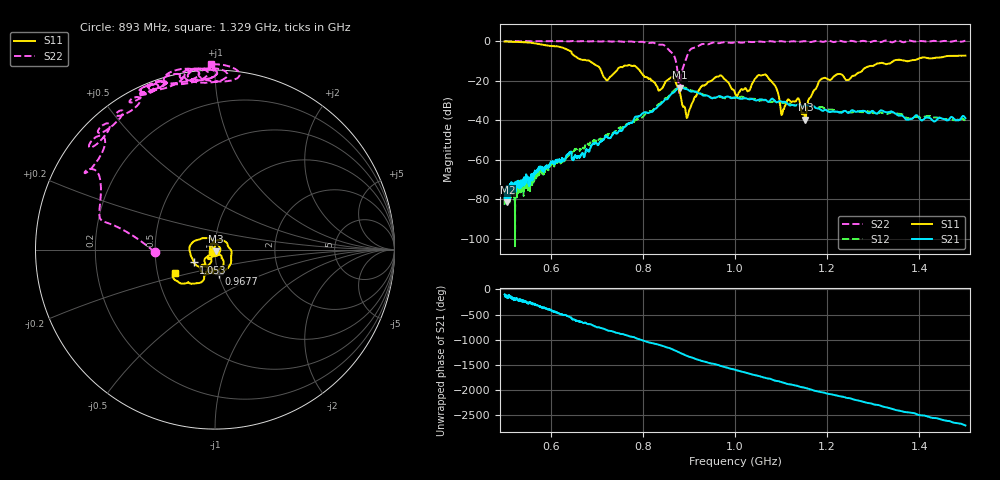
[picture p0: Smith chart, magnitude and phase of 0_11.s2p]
!Agilent Technologies,E8364B,US42250235,A.06.04.32
!Agilent E8364B: A.06.04.32
!Date: Thursday, October 01, 2020 15:50:29
!Correction: S11(Full 2 Port(1,2)) S21(Full 2 Port(1,2)) S12(Full 2 Port(1,2)) S22(Full 2 Port(1,2))
!S2P File: Measurements: S11, S21, S12, S22:
# Hz S  dB  R 50
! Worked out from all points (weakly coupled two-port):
!   2650 points, 500 MHz to 1.5 GHz, reference 50 ohm
!   highest |S21| = -23.59 dB at 880.1 MHz (marker M1); lowest = -81.6 dB at 506 MHz (marker M2)
!   lowest |S11| = -39.7 dB at 1.153 GHz (marker M3), VSWR 1.02, Z = 50.4 - j0.95 ohm
!   |S11| at or under -10 dB: 684 MHz to 1.344 GHz (660.2 MHz wide, 65.1 % of centre); 1.369 GHz to 1.38 GHz (11.09 MHz wide, 0.807 % of centre)
!   |S22| runs from -26.7 to 0.3 dB; largest |S21 - S12| = 0.042
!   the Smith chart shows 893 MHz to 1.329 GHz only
!   S11 on the Smith chart (normalised r, x): 893 MHz: 0.98, -0.03; 967.7 MHz: 1.01, -0.27; 1.053 GHz: 0.78, -0.11; 1.329 GHz: 0.62, -0.17
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5e8  -0.26 -175.3  -76.36 -101.2  -82.79 -124.9  0.00 143.4
5.0604e8  -0.31 -178.4  -81.59 -173.1  -78.02 -162.7  -0.09 144.5
6.147603e8  -2.72 110.1  -60.88 -106.7  -61.53 -115.7  -0.08 129.4
6.668554e8  -9.42 76.8  -57.12 74.1  -54.28 92.8  -0.07 125.1
7.219706e8  -19.86 72.4  -48.54 -90.8  -47.30 -60.9  -0.08 117.3
7.819932e8  -12.47 38.0  -38.79 126.4  -40.35 149.8  -0.48 109.9
8.337108e8  -24.85 -2.2  -32.75 -16.9  -32.04 17.4  -1.84 84.0
8.657984e8  -18.46 -46.0  -26.17 -116.9  -25.40 -81.7  -6.65 39.0
8.801435e8  -25.65 -107.1  -23.59 -177.6  -23.49 -142.4  -25.15 -91.5
8.929785e8  -35.53 -125.2  -24.28 129.8  -23.66 163.8  -9.45 -177.9
9.677237e8  -17.38 -80.1  -27.81 -76.8  -28.24 -43.7  -1.03 132.2
1.000189e9  -26.52 -138.1  -28.47 -158.4  -28.86 -122.8  -0.61 123.7
1.053039e9  -17.23 -148.7  -29.56 76.2  -30.21 102.9  -0.29 115.4
1.085881e9  -22.26 123.3  -30.03 -11.1  -30.45 24.2  -0.39 113.8
1.102492e9  -37.02 126.5  -30.74 -46.8  -31.19 -14.2  -0.15 115.4
1.135712e9  -29.04 -67.0  -32.18 -117.3  -32.52 -90.6  -0.37 111.2
1.152699e9  -39.73 -65.9  -32.56 -156.6  -33.15 -124.8  -0.08 111.1
1.166667e9  -27.11 -44.4  -32.56 165.8  -32.67 -158.2  -0.44 102.9
1.190449e9  -18.83 -81.1  -35.30 113.4  -33.49 146.3  -0.44 100.6
1.328615e9  -11.70 -149.4  -36.04 176.0  -36.87 -142.6  0.28 91.2
1.333522e9  -11.41 -148.7  -35.95 167.4  -36.61 -150.9  -0.01 97.8
1.5e9  -7.40 139.8  -38.98 176.2  -40.13 -140.9  0.17 71.1
